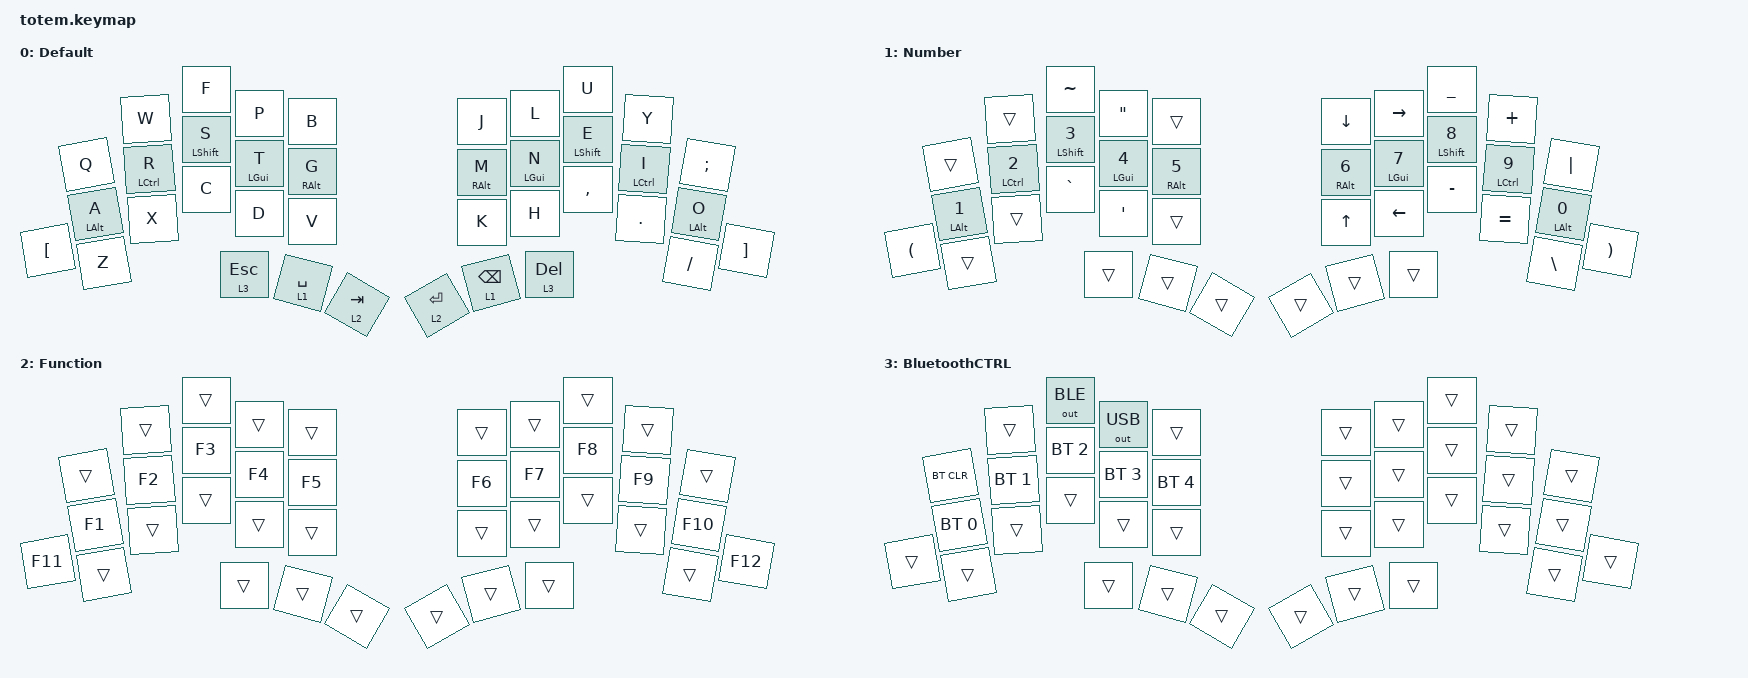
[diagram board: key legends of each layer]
//
//                                                        ▀▀▀▀▀     ▀▀▀▀▀          ▀▀█▀▀
//                                                        ▄▀▀▀▄  ▄  ▄▀▀▀▄  ▄  ▄▀▀▀▄  █  ▄▀▀▀▄
//                                                        █   █  █  █   █  █  █   █  █  █   █
//                                                         ▀▀▀   █   ▀▀▀   █   ▀▀▀   ▀   ▀▀▀
//                                                               █      ▄▄▄█▄▄▄    █   █
//                                                               ▀      █  █  █     █▄█
//                                                             ▀▀▀▀▀    █  █  █      ▀
//                                                                      ▀  ▀  ▀
//
// ▄▄▄▄▄▄▄▄▄▄▄▄▄▄▄▄▄▄▄▄▄▄▄▄▄▄▄▄▄▄▄▄▄▄▄▄▄▄▄▄▄▄▄▄▄▄▄▄▄▄▄▄▄▄▄▄▄▄▄▄▄▄▄▄▄▄▄▄▄▄▄▄▄▄▄▄▄▄▄▄▄▄▄▄▄▄▄▄▄▄▄▄▄▄▄▄▄▄▄▄▄▄▄▄▄▄▄▄▄▄▄▄▄▄▄▄▄▄▄▄▄▄▄▄▄▄▄▄▄▄▄▄▄▄▄▄▄▄▄▄▄▄▄▄▄▄▄▄▄

#include <behaviors.dtsi>
#include <dt-bindings/zmk/bt.h>
#include <dt-bindings/zmk/keys.h>
#include <dt-bindings/zmk/outputs.h>
/* #include <behaviors/rgbled_widget.dtsi> */

#define KEYS_L 0 1 2 3 4 10 11 12 13 14 20 21 22 23 24 25
#define KEYS_R 5 6 7 8 9 15 16 17 18 19 26 27 28 29 30 31
#define THUMBS 32 33 34 35 36 37

&lt {
    flavor = "balanced";
    tapping-term-ms = <300>;
    quick-tap-ms = <175>;
    require-prior-idle-ms = <80>;
    hold-trigger-key-positions = <KEYS_L KEYS_R>;
    hold-trigger-on-release;
};

/ {
    behaviors {
        hml: homerow_mod_left {
            compatible = "zmk,behavior-hold-tap";
            #binding-cells = <2>;
            flavor = "balanced";
            tapping-term-ms = <300>;
            quick-tap-ms = <175>;
            require-prior-idle-ms = <80>;
            bindings = <&kp>, <&kp>;

            hold-trigger-key-positions = <KEYS_R THUMBS>;
            hold-trigger-on-release;
        };

        hmr: homerow_mod_right {
            compatible = "zmk,behavior-hold-tap";
            #binding-cells = <2>;
            flavor = "balanced";
            tapping-term-ms = <300>;
            quick-tap-ms = <175>;
            require-prior-idle-ms = <80>;
            bindings = <&kp>, <&kp>;

            hold-trigger-key-positions = <KEYS_L THUMBS>;
            hold-trigger-on-release;
        };
    };

    keymap {
        compatible = "zmk,keymap";

        default {
            display-name = "Default";
            bindings = <
                  &kp Q        &kp W         &kp F          &kp P        &kp B          &kp J        &kp L            &kp U          &kp Y         &kp SEMICOLON
                  &hml LALT A  &hml LCTRL R  &hml LSHIFT S  &hml LGUI T  &hml RALT G    &hmr RALT M  &hmr LGUI N      &hmr LSHIFT E  &hmr LCTRL I  &hmr LALT O
&kp LEFT_BRACKET  &kp Z        &kp X         &kp C          &kp D        &kp V          &kp K        &kp H            &kp COMMA      &kp DOT       &kp SLASH      &kp RIGHT_BRACKET
                                             &lt 3 ESC      &lt 1 SPACE  &lt 2 TAB      &lt 2 ENTER  &lt 1 BACKSPACE  &lt 3 DEL
            >;
        };

        num {
            display-name = "Number";
            bindings = <
                      &trans              &trans               &kp TILDE             &kp DOUBLE_QUOTES   &trans                &kp DOWN            &kp RIGHT           &kp UNDERSCORE        &kp PLUS             &kp PIPE
                      &hml LALT NUMBER_1  &hml LCTRL NUMBER_2  &hml LSHIFT NUMBER_3  &hml LGUI NUMBER_4  &hml RALT NUMBER_5    &hmr RALT NUMBER_6  &hmr LGUI NUMBER_7  &hmr LSHIFT NUMBER_8  &hmr LCTRL NUMBER_9  &hmr LALT NUMBER_0
&kp LEFT_PARENTHESIS  &trans              &trans               &kp GRAVE             &kp APOSTROPHE      &trans                &kp UP              &kp LEFT            &kp MINUS             &kp EQUAL            &kp BACKSLASH       &kp RIGHT_PARENTHESIS
                                                               &trans                &trans              &trans                &trans              &trans              &trans
            >;
        };

        func {
            display-name = "Function";
            bindings = <
         &trans  &trans  &trans  &trans  &trans  &trans  &trans  &trans  &trans  &trans
         &kp F1  &kp F2  &kp F3  &kp F4  &kp F5  &kp F6  &kp F7  &kp F8  &kp F9  &kp F10
&kp F11  &trans  &trans  &trans  &trans  &trans  &trans  &trans  &trans  &trans  &trans   &kp F12
                         &trans  &trans  &trans  &trans  &trans  &trans
            >;
        };

        ctrl {
            display-name = "BluetoothCTRL";
            bindings = <
        &bt BT_CLR    &trans        &out OUT_BLE  &out OUT_USB  &trans          &trans  &trans    &trans    &trans  &trans
        /* &bt BT_SEL 0  &bt BT_SEL 1  &bt BT_SEL 2  &bt BT_SEL 3  &bt BT_SEL 4    &trans  &ind_bat  &ind_con  &trans  &trans */
        &bt BT_SEL 0  &bt BT_SEL 1  &bt BT_SEL 2  &bt BT_SEL 3  &bt BT_SEL 4    &trans  &trans    &trans    &trans  &trans
&trans  &trans        &trans        &trans        &trans        &trans          &trans  &trans    &trans    &trans  &trans  &trans
                                    &trans        &trans        &trans          &trans  &trans    &trans
            >;
        };
    };
};
